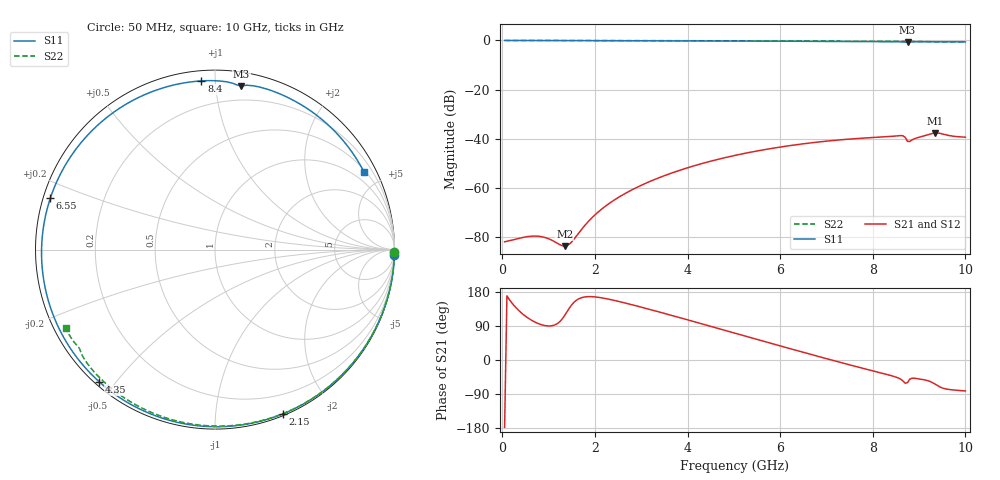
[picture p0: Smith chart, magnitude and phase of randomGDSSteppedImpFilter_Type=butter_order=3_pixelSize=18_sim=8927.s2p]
! freq	dB(S11)	phase(S11)	dB(S12)	phase(S12)
!  dB(S21)	phase(S21)	dB(S22)	phase(S22)
!S-par simulation data
#  GHz  S  DB  R 50
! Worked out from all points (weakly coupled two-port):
!   200 points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, 50 MHz to 10 GHz, reference 50 ohm
!   highest |S21| = -37.63 dB at 9.35 GHz (marker M1); lowest = -83.7 dB at 1.35 GHz (marker M2)
!   lowest |S11| = -0.7 dB at 8.75 GHz (marker M3), VSWR 25.35, Z = 4.68 + j58.5 ohm
!   |S11| at or under -10 dB: nowhere
!   |S22| runs from -0.6 to 0.0 dB; largest |S21 - S12| = 0
!   S11 on the Smith chart (normalised r, x): 50 MHz: 0, -71; 2.15 GHz: 0.02, -1.50; 4.35 GHz: 0.01, -0.45; 6.55 GHz: 0.02, +0.15; 8.4 GHz: 0.05, +0.92; 10 GHz: 0.58, +4.03
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0.05  -0.00 -1.6  -81.95 -177.7  -81.95 -177.7  -0.00 -0.9
0.65  -0.02 -20.9  -79.64 103.6  -79.64 103.6  -0.01 -11.5
1.35  -0.05 -43.0  -83.74 118.1  -83.74 118.1  -0.03 -23.6
1.6  -0.06 -50.7  -79.63 157.7  -79.63 157.7  -0.04 -27.9
1.75  -0.07 -55.3  -76.01 165.7  -76.01 165.7  -0.04 -30.5
2.15  -0.09 -67.4  -68.59 164.0  -68.59 164.0  -0.05 -37.2
2.7  -0.11 -83.8  -61.80 148.9  -61.80 148.9  -0.06 -46.4
3.4  -0.14 -104.1  -55.76 126.3  -55.76 126.3  -0.08 -57.8
4.35  -0.18 -131.2  -49.90 94.0  -49.90 94.0  -0.10 -72.8
5.05  -0.23 -151.4  -46.68 69.8  -46.68 69.8  -0.13 -83.4
5.8  -0.28 -173.6  -44.00 44.0  -44.00 44.0  -0.16 -94.4
6.55  -0.35 162.7  -41.95 18.6  -41.95 18.6  -0.20 -105.2
6.7  -0.36 157.7  -41.61 13.6  -41.61 13.6  -0.21 -107.3
7.5  -0.43 129.7  -40.14 -12.8  -40.14 -12.8  -0.26 -118.4
7.95  -0.47 112.6  -39.57 -27.1  -39.57 -27.1  -0.30 -124.7
8.35  -0.50 96.7  -39.12 -39.6  -39.12 -39.6  -0.34 -130.2
8.4  -0.51 94.6  -39.05 -41.3  -39.05 -41.3  -0.34 -130.9
8.65  -0.61 84.0  -38.77 -55.1  -38.77 -55.1  -0.37 -134.3
8.75  -0.69 80.9  -41.09 -59.6  -41.09 -59.6  -0.39 -135.8
9  -0.54 70.2  -39.41 -50.0  -39.41 -50.0  -0.43 -139.3
9.35  -0.55 55.1  -37.63 -64.1  -37.63 -64.1  -0.58 -143.8
10  -0.58 27.4  -39.37 -81.7  -39.37 -81.7  -0.54 -152.3
